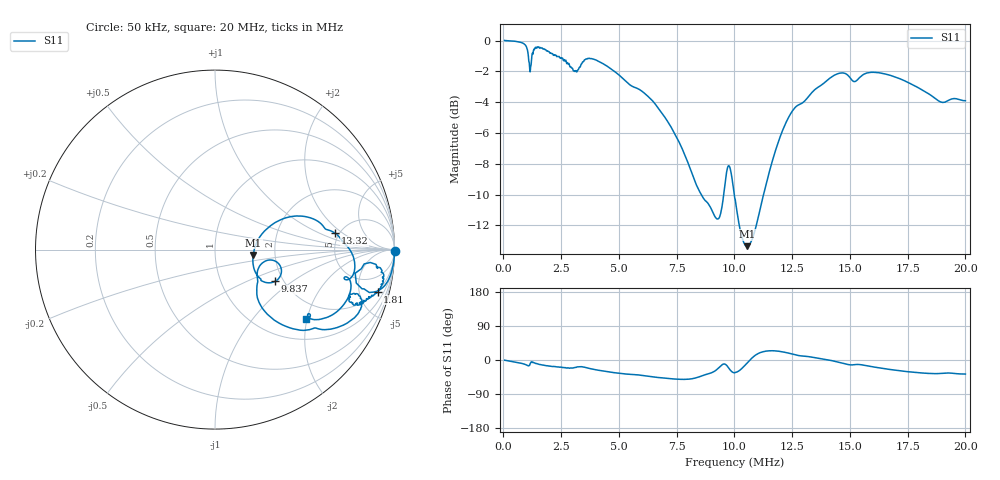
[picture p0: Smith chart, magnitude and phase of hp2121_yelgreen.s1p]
# Hz S RI R 50
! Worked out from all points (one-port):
!   1010 points, 50 kHz to 20 MHz, reference 50 ohm
!   lowest |S11| = -13.3 dB at 10.55 MHz (marker M1), VSWR 1.55, Z = 76.9 - j4.76 ohm
!   |S11| at or under -10 dB: 8.565 MHz to 9.534 MHz (968.8 kHz wide, 10.7 % of centre); 9.995 MHz to 11.26 MHz (1.266 MHz wide, 11.9 % of centre)
!   S11 on the Smith chart (normalised r, x): 50 kHz: open; 1.81 MHz: 1.97, -7.37; 9.837 MHz: 1.81, -0.75; 13.32 MHz: 4.57, +1.56; 20 MHz: 1.52, -1.98
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50000  1.002 -0.00844
840800  0.9676 -0.1661
1038600  0.9037 -0.232
1137400  0.7872 -0.1865
1275800  0.8986 -0.0959
1809700  0.906 -0.2335
2560972  0.8251 -0.2989
3075072  0.7494 -0.2752
3312372  0.7815 -0.2478
3747272  0.8075 -0.3379
5052244  0.6257 -0.4453
6475816  0.4534 -0.4449
7543516  0.3028 -0.3704
8255288  0.2355 -0.2651
9224188  0.2378 -0.1153
9540488  0.3137 -0.058
9837088  0.3346 -0.177
1.003486e7  0.2563 -0.1647
1.054886e7  0.213 -0.0295
1.163636e7  0.3691 0.1676
1.252613e7  0.5719 0.1585
1.331693e7  0.6672 0.093
1.44044e7  0.7756 -0.0576
1.50174e7  0.737 -0.1681
1.59862e7  0.7512 -0.2428
1.750868e7  0.6282 -0.3759
1.879385e7  0.5191 -0.3755
1.999995e7  0.5096 -0.3846
